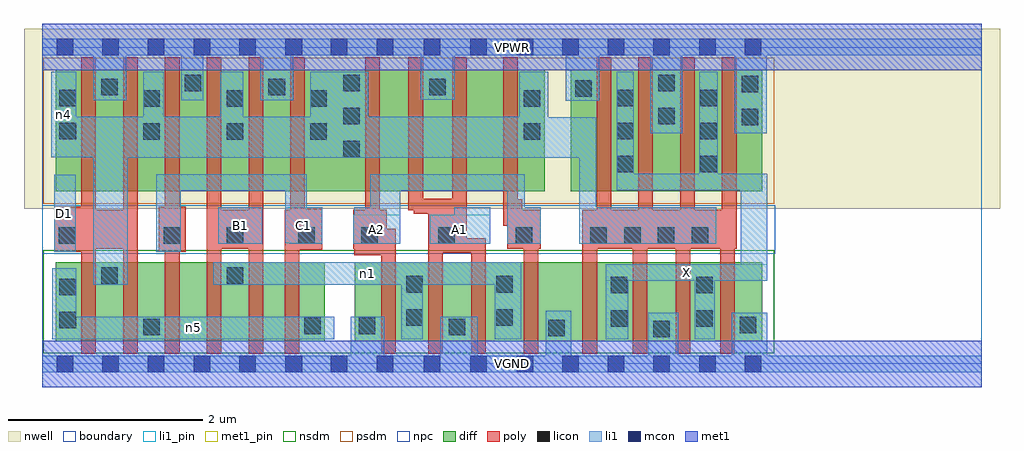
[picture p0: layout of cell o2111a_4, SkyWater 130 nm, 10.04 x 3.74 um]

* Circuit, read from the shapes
.subckt o2111a_4 A1 A2 B1 C1 D1 VGND VPWR X n1 n4 n5
XM1 n4 D1 n5 VSUBS sky130_fd_pr__nfet_01v8 w=0.81 l=0.15 m=2
XM2 n2 C1 n5 VSUBS sky130_fd_pr__nfet_01v8 w=0.81 l=0.15
XM3 n1 B1 n2 VSUBS sky130_fd_pr__nfet_01v8 w=0.81 l=0.15
XM4 n3 B1 n1 VSUBS sky130_fd_pr__nfet_01v8 w=0.81 l=0.15
XM5 n5 C1 n3 VSUBS sky130_fd_pr__nfet_01v8 w=0.81 l=0.15
XM6 n1 A2 VGND VSUBS sky130_fd_pr__nfet_01v8 w=0.81 l=0.15 m=2
XM7 VGND A1 n1 VSUBS sky130_fd_pr__nfet_01v8 w=0.81 l=0.15 m=2
XM8 X n4 VGND VSUBS sky130_fd_pr__nfet_01v8 w=0.81 l=0.15 m=4
XM9 VPWR D1 n4 n6 sky130_fd_pr__pfet_01v8 w=1.25 l=0.15 m=2
XM10 VPWR C1 n4 n6 sky130_fd_pr__pfet_01v8 w=1.25 l=0.15 m=2
XM11 n4 B1 VPWR n6 sky130_fd_pr__pfet_01v8 w=1.25 l=0.15 m=2
XM12 n7 A2 n4 n6 sky130_fd_pr__pfet_01v8 w=1.25 l=0.15
XM13 VPWR A1 n7 n6 sky130_fd_pr__pfet_01v8 w=1.25 l=0.15
XM14 n8 A1 VPWR n6 sky130_fd_pr__pfet_01v8 w=1.25 l=0.15
XM15 n4 A2 n8 n6 sky130_fd_pr__pfet_01v8 w=1.25 l=0.15
XM16 X n4 VPWR n6 sky130_fd_pr__pfet_01v8 w=1.25 l=0.15 m=4
.ends

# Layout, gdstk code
import gdstk
lib = gdstk.Library(unit=1e-6, precision=1e-09)
def R(c, l, rs):  # rectangles x0, y0, x1, y1
    for r in rs: c.add(gdstk.rectangle(r[:2], r[2:], *l))
def A(c, l, x, y, w, h, nx, ny, dx, dy):  # array of equal rectangles
    R(c, l, [(x+i*dx, y+j*dy, x+i*dx+w, y+j*dy+h) for i in range(nx) for j in range(ny)])
nwell = (64, 20)
diff = (65, 20)
poly = (66, 20)
licon = (66, 44)
li1_pin = (67, 16)
li1 = (67, 20)
mcon = (67, 44)
met1_pin = (68, 16)
met1 = (68, 20)
nsdm = (93, 44)
psdm = (94, 20)
npc = (95, 20)
boundary = (235, 4)

o2111a_4 = lib.new_cell('o2111a_4')
R(o2111a_4, nwell, [(-0.19,1.595,9.85,3.45), (0,1.595,9.66,3.45)])
R(o2111a_4, diff, [(0.135,0.235,2.905,1.045), (3.21,0.235,7.405,1.045), (0.135,1.775,5.165,3.025), (5.435,1.775,7.405,3.025)])
A(o2111a_4, poly, 0.4, 0.105, 0.15, 3.05, 5, 1, 0.43, 0)
A(o2111a_4, poly, 5.7, 1.185, 0.15, 1.97, 4, 1, 0.43, 0)
R(o2111a_4, poly, [(2.49,0.105,2.64,1.585), (3.485,0.105,3.635,1.39), (3.97,0.105,4.12,1.7), (4.41,0.105,4.56,1.295), (4.95,0.105,5.1,1.585), (5.555,0.105,5.705,1.585), (6.07,0.105,6.22,1.585), (6.515,0.105,6.665,1.585), (6.97,0.105,7.12,1.585), (6.99,0.105,7.12,3.155), (3.205,1.12,3.635,1.39), (3.32,1.12,3.47,3.155), (3.97,1.145,4.365,1.7), (3.97,1.145,4.56,1.295), (4.215,1.145,4.365,3.155), (0.12,1.155,0.55,1.615), (1.195,1.155,1.475,1.615), (2.55,1.175,2.7,3.155), (2.55,1.175,2.88,1.595), (0.12,1.185,0.98,1.585), (1.69,1.185,2.27,1.585), (3.195,1.185,3.54,1.585), (4.78,1.185,5.125,1.585), (5.555,1.185,7.14,1.585), (4.74,1.42,4.89,3.155), (4.74,1.42,4.935,1.695), (3.82,1.545,4.365,1.7), (3.765,1.58,3.915,3.155)])
A(o2111a_4, licon, 5.905, 1.97, 0.17, 0.17, 1, 3, 0, 0.34)
A(o2111a_4, licon, 6.765, 1.97, 0.17, 0.17, 1, 3, 0, 0.34)
A(o2111a_4, licon, 3.095, 2.125, 0.17, 0.17, 1, 3, 0, 0.34)
A(o2111a_4, licon, 1.035, 2.305, 0.17, 0.17, 3, 2, 0.86, 0.34)
R(o2111a_4, licon, [(6.285,0.275,6.455,0.445), (5.205,0.285,5.375,0.455), (1.035,0.295,1.205,0.465), (4.18,0.295,4.35,0.465), (2.695,0.305,2.865,0.475), (3.255,0.305,3.425,0.475), (7.175,0.315,7.345,0.485), (0.175,0.365,0.345,0.535), (5.845,0.385,6.015,0.555), (6.725,0.385,6.895,0.555), (3.74,0.395,3.91,0.565), (4.67,0.395,4.84,0.565), (0.175,0.705,0.345,0.875), (5.845,0.725,6.015,0.895), (6.725,0.725,6.895,0.895), (3.74,0.735,3.91,0.905), (4.67,0.735,4.84,0.905), (0.605,0.825,0.775,0.995), (1.895,0.825,2.065,0.995), (0.17,1.235,0.34,1.405), (1.25,1.235,1.42,1.405), (1.895,1.235,2.065,1.405), (2.63,1.235,2.8,1.405), (3.28,1.235,3.45,1.405), (4.07,1.235,4.24,1.405), (4.87,1.235,5.04,1.405), (5.635,1.235,5.805,1.405), (5.985,1.235,6.155,1.405), (6.33,1.235,6.5,1.405), (6.68,1.235,6.85,1.405), (4.95,2.305,5.12,2.475), (0.175,2.31,0.345,2.48), (7.195,2.455,7.365,2.625), (6.335,2.465,6.505,2.635), (4.95,2.645,5.12,2.815), (0.175,2.65,0.345,2.82), (5.48,2.75,5.65,2.92), (0.605,2.765,0.775,2.935), (2.325,2.765,2.495,2.935), (3.98,2.765,4.15,2.935), (7.195,2.795,7.365,2.965), (1.465,2.805,1.635,2.975), (6.335,2.805,6.505,2.975)])
R(o2111a_4, li1_pin, [(5.795,0.855,7.455,1.025), (0.12,1.155,0.34,1.945), (1.81,1.235,2.26,1.61), (3.195,1.235,3.68,1.535), (3.985,1.235,4.605,1.535), (2.5,1.24,2.88,1.61)])
R(o2111a_4, li1, [(0,-0.085,9.66,0.085), (3.17,-0.085,3.515,0.485), (4.09,-0.085,4.48,0.485), (5.175,-0.085,5.44,0.545), (6.23,-0.085,6.54,0.525), (7.09,-0.085,7.455,0.525), (0.1,0.255,3,0.485), (0.1,0.255,0.345,0.985), (3.69,0.255,3.91,1.045), (4.655,0.255,4.925,1.045), (5.795,0.255,6.025,1.025), (6.71,0.255,6.915,1.025), (0.52,0.815,0.875,2.545), (1.755,0.815,4.925,1.045), (5.795,0.855,7.455,1.025), (7.185,0.855,7.455,1.955), (0.12,1.155,0.34,1.945), (1.17,1.155,1.425,1.95), (1.81,1.235,2.26,1.61), (2.545,1.235,2.88,1.61), (3.195,1.235,3.68,1.535), (3.205,1.235,3.68,1.61), (3.37,1.235,3.68,1.95), (3.985,1.235,4.605,1.535), (4.235,1.235,4.605,1.61), (4.78,1.235,5.125,1.61), (4.78,1.235,4.96,1.95), (5.52,1.235,6.93,1.61), (5.52,1.235,5.695,2.54), (2.5,1.24,2.88,1.61), (2.5,1.24,2.72,1.95), (1.17,1.78,2.72,1.95), (3.37,1.78,4.96,1.95), (5.905,1.785,7.455,1.955), (5.905,1.785,6.08,3.005), (6.755,1.785,6.945,3.005), (0.52,2.12,5.695,2.54), (1.035,2.12,1.25,3.005), (1.83,2.12,2.065,3.005), (2.755,2.12,3.35,3.005), (4.905,2.12,5.205,3.005), (0.09,2.125,0.345,3.005), (0.09,2.125,5.205,2.545), (6.25,2.375,6.58,3.345), (7.12,2.375,7.45,3.345), (5.385,2.71,5.73,3.345), (0.52,2.715,0.86,3.345), (1.43,2.715,1.655,3.345), (2.24,2.715,2.58,3.345), (3.89,2.72,4.24,3.345), (0,3.175,9.66,3.345)])
A(o2111a_4, mcon, 0.145, -0.085, 0.17, 0.17, 5, 2, 0.47, 3.26)
A(o2111a_4, mcon, 3.44, -0.085, 0.17, 0.17, 4, 2, 0.48, 3.26)
A(o2111a_4, mcon, 5.345, -0.085, 0.17, 0.17, 5, 2, 0.47, 3.26)
R(o2111a_4, mcon, [(2.5,-0.085,2.67,0.085), (2.965,-0.085,3.135,0.085), (2.5,3.175,2.67,3.345), (2.965,3.175,3.135,3.345)])
R(o2111a_4, met1_pin, [(0,-0.24,9.66,0.24), (0,3.02,9.66,3.5)])
R(o2111a_4, met1, [(0,-0.24,9.66,0.24), (0,3.02,9.66,3.5)])
R(o2111a_4, nsdm, [(0.01,0.11,7.53,1.17)])
R(o2111a_4, psdm, [(0.01,1.65,7.53,3.15)])
R(o2111a_4, npc, [(0,1.135,7.54,1.635)])
R(o2111a_4, boundary, [(0,0,9.66,3.26)])
o2111a_4.add(gdstk.Label('A1', (4.295,1.385), layer=67, texttype=5))
o2111a_4.add(gdstk.Label('A2', (3.437,1.385), layer=67, texttype=5))
o2111a_4.add(gdstk.Label('B1', (2.035,1.422), layer=67, texttype=5))
o2111a_4.add(gdstk.Label('C1', (2.69,1.425), layer=67, texttype=5))
o2111a_4.add(gdstk.Label('D1', (0.23,1.55), layer=67, texttype=5))
o2111a_4.add(gdstk.Label('X', (6.625,0.94), layer=67, texttype=5))
o2111a_4.add(gdstk.Label('n5', (1.55,0.37), layer=67, texttype=5))
o2111a_4.add(gdstk.Label('n1', (3.34,0.93), layer=67, texttype=5))
o2111a_4.add(gdstk.Label('n4', (0.217,2.565), layer=67, texttype=5))
o2111a_4.add(gdstk.Label('VPWR', (4.83,3.26), layer=68, texttype=5))
o2111a_4.add(gdstk.Label('VGND', (4.83,0), layer=68, texttype=5))
o2111a_4.add(gdstk.Label('A1', (4.295,1.385), layer=67, texttype=16))
o2111a_4.add(gdstk.Label('A2', (3.437,1.385), layer=67, texttype=16))
o2111a_4.add(gdstk.Label('B1', (2.035,1.422), layer=67, texttype=16))
o2111a_4.add(gdstk.Label('C1', (2.69,1.425), layer=67, texttype=16))
o2111a_4.add(gdstk.Label('D1', (0.23,1.55), layer=67, texttype=16))
o2111a_4.add(gdstk.Label('X', (6.625,0.94), layer=67, texttype=16))
o2111a_4.add(gdstk.Label('VPWR', (4.83,3.26), layer=68, texttype=16))
o2111a_4.add(gdstk.Label('VGND', (4.83,0), layer=68, texttype=16))

lib.write_gds('o2111a_4.gds')
